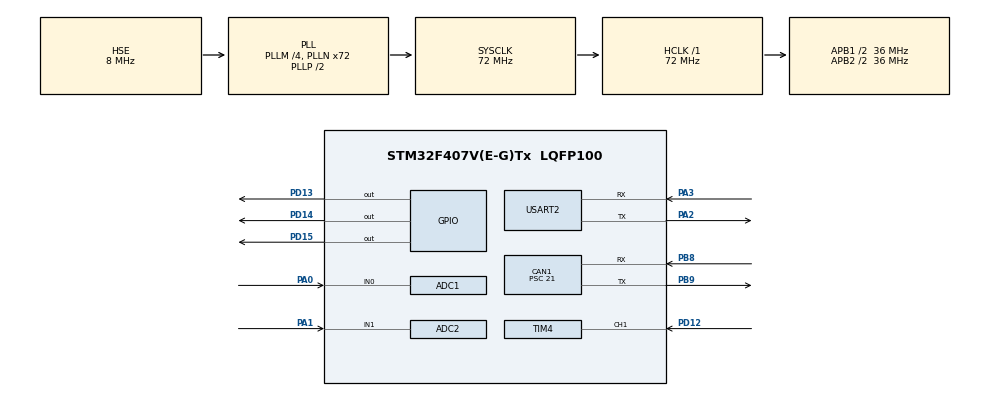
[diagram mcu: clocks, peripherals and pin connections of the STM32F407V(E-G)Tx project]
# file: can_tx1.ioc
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ADC1.Channel-0\#ChannelRegularConversion=ADC_CHANNEL_0
ADC1.ClockPrescaler=ADC_CLOCK_SYNC_PCLK_DIV4
ADC1.NbrOfConversionFlag=1
ADC1.Rank-0\#ChannelRegularConversion=1
ADC1.SamplingTime-0\#ChannelRegularConversion=ADC_SAMPLETIME_3CYCLES
ADC1.master=1
ADC2.Channel-0\#ChannelRegularConversion=ADC_CHANNEL_1
ADC2.ClockPrescaler=ADC_CLOCK_SYNC_PCLK_DIV4
ADC2.NbrOfConversionFlag=1
ADC2.Rank-0\#ChannelRegularConversion=1
ADC2.SamplingTime-0\#ChannelRegularConversion=ADC_SAMPLETIME_3CYCLES
CAN1.BS1=CAN_BS1_2TQ
CAN1.CalculateBaudRate=428571
CAN1.CalculateTimeBit=2333
CAN1.CalculateTimeQuantum=583.3333333333334
CAN1.Prescaler=21
Mcu.Family=STM32F4
Mcu.Name=STM32F407V(E-G)Tx
Mcu.Package=LQFP100
NVIC.CAN1_RX0_IRQn=true\:0\:0\:false\:false\:true\:true\:true\:true
NVIC.PriorityGroup=NVIC_PRIORITYGROUP_0
NVIC.TIM4_IRQn=true\:0\:0\:false\:false\:true\:true\:true\:true
PA0-WKUP.Signal=ADCx_IN0
PA1.Signal=ADCx_IN1
PA2.Mode=Asynchronous
PA2.Signal=USART2_TX
PA3.Mode=Asynchronous
PA3.Signal=USART2_RX
PB8.GPIO_PuPd=GPIO_NOPULL
PB8.Mode=CAN_Activate
PB8.Signal=CAN1_RX
PB9.Mode=CAN_Activate
PB9.Signal=CAN1_TX
PD12.Signal=S_TIM4_CH1
PD13.Signal=GPIO_Output
PD14.Signal=GPIO_Output
PD15.Signal=GPIO_Output
PH0-OSC_IN.Mode=HSE-External-Oscillator
PH0-OSC_IN.Signal=RCC_OSC_IN
PH1-OSC_OUT.Mode=HSE-External-Oscillator
PH1-OSC_OUT.Signal=RCC_OSC_OUT
ProjectManager.HeapSize=0x200
ProjectManager.StackSize=0x400
ProjectManager.TargetToolchain=STM32CubeIDE
RCC.48MHZClocksFreq_Value=20571428.57142857
RCC.AHBFreq_Value=72000000
RCC.APB1CLKDivider=RCC_HCLK_DIV2
RCC.APB1Freq_Value=36000000
RCC.APB1TimFreq_Value=72000000
RCC.APB2CLKDivider=RCC_HCLK_DIV2
RCC.APB2Freq_Value=36000000
RCC.APB2TimFreq_Value=72000000
RCC.CortexFreq_Value=72000000
RCC.HCLKFreq_Value=72000000
RCC.HSE_VALUE=8000000
RCC.HSI_VALUE=16000000
RCC.LSE_VALUE=32768
RCC.PLLM=4
RCC.PLLN=72
RCC.PLLQ=7
RCC.PLLSourceVirtual=RCC_PLLSOURCE_HSE
RCC.SYSCLKFreq_VALUE=72000000
RCC.SYSCLKSource=RCC_SYSCLKSOURCE_PLLCLK
RCC.VCOOutputFreq_Value=144000000
SH.ADCx_IN0.0=ADC1_IN0,IN0
SH.ADCx_IN1.0=ADC2_IN1,IN1
SH.S_TIM4_CH1.0=TIM4_CH1,Input_Capture1_from_TI1
TIM4.AutoReloadPreload=TIM_AUTORELOAD_PRELOAD_ENABLE
TIM4.Channel-Input_Capture1_from_TI1=TIM_CHANNEL_1
TIM4.Prescaler=84-1
USART2.VirtualMode=VM_ASYNC
VP_TIM4_VS_ClockSourceINT.Mode=Internal
board=STM32F407G-DISC1

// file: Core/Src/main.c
/* USER CODE BEGIN Header */
/**
  ******************************************************************************
  * @file           : main.c
  * @brief          : Main program body
  ******************************************************************************
  * @attention
  *
  * Copyright (c) 2024 STMicroelectronics.
  * All rights reserved.
  *
  * This software is licensed under terms that can be found in the LICENSE file
  * in the root directory of this software component.
  * If no LICENSE file comes with this software, it is provided AS-IS.
  *
  ******************************************************************************
  */
/* USER CODE END Header */
#include "main.h"

/* USER CODE BEGIN Includes */
#include <stdio.h>
#include <string.h>
#include<stdlib.h>
/* USER CODE END Includes */

/* USER CODE BEGIN PD */
#define ULTRASONIC_TRIGGER_PORT		GPIOD
#define ULTRASONIC_TRIGGER_PIN		GPIO_PIN_11
#define ULTRASONIC_ECHO_PIN_IC		&htim4
/* USER CODE END PD */

ADC_HandleTypeDef hadc1;
ADC_HandleTypeDef hadc2;

CAN_HandleTypeDef hcan1;

TIM_HandleTypeDef htim4;

UART_HandleTypeDef huart2;

/* USER CODE BEGIN PV */
//uint8_t temperature=0;
volatile uint16_t distance=0;
volatile uint8_t isReadingFinished=0;
volatile uint8_t isRisingCaptured=0 ;
volatile uint32_t InputCaptureValue_1=0;
volatile uint32_t InputCaptureValue_2=0;
volatile uint32_t InputCaptureDifference=0;
volatile int datacheck;
//CAN_DECLARATIONS================================

uint16_t mq;
uint16_t lm;
char str[64];
//uint16_t previousDistance = 0;  // Variable to store previous distance
//uint8_t speed = 0;// Variable to store calculated speed
//uint32_t previousTime = 0;  // Variable to store previous time in milliseconds
//uint32_t currentTime = 0;

/* USER CODE END PV */

void SystemClock_Config(void);
static void MX_GPIO_Init(void);
static void MX_CAN1_Init(void);
static void MX_ADC1_Init(void);
static void MX_ADC2_Init(void);
static void MX_TIM4_Init(void);
static void MX_USART2_UART_Init(void);

/* USER CODE BEGIN 0 */

CAN_TxHeaderTypeDef TxHeader;
CAN_RxHeaderTypeDef RxHeader;

uint8_t TxData[8];
uint8_t RxData[8];
uint8_t TxData1[8];
uint32_t TxMailbox[2];

/* USER CODE BEGIN 0 */

//================================================
//ULTRASONIC_FUNCTIONS===========================
void Ultrasonic_distance(void)
{
	//Send Trigger Signal to ultrasonic trigger pin
	HAL_GPIO_WritePin(ULTRASONIC_TRIGGER_PORT, ULTRASONIC_TRIGGER_PIN, GPIO_PIN_SET);
	HAL_Delay(10);
	HAL_GPIO_WritePin(ULTRASONIC_TRIGGER_PORT, ULTRASONIC_TRIGGER_PIN, GPIO_PIN_RESET);
	//Enable Timer counter
	__HAL_TIM_ENABLE_IT(ULTRASONIC_ECHO_PIN_IC, TIM_IT_CC1);
}

void HAL_TIM_IC_CaptureCallback(TIM_HandleTypeDef *htim)
{
	//Capture Rising Edge
	if(isRisingCaptured == 0)
	{
		InputCaptureValue_1 = HAL_TIM_ReadCapturedValue(&htim4, TIM_CHANNEL_1);
		isRisingCaptured = 1;
		__HAL_TIM_SET_CAPTUREPOLARITY(&htim4, TIM_CHANNEL_1, TIM_INPUTCHANNELPOLARITY_FALLING);
	}
	//Capture Falling Edge
	else if(isRisingCaptured == 1)
	{
		InputCaptureValue_2 = HAL_TIM_ReadCapturedValue(&htim4, TIM_CHANNEL_1);
		__HAL_TIM_SET_COUNTER(&htim4, 0);

		if(InputCaptureValue_2 > InputCaptureValue_1)
		{
			InputCaptureDifference = InputCaptureValue_2 - InputCaptureValue_1;
		}
		else if(InputCaptureValue_1 > InputCaptureValue_2)
		{
			InputCaptureDifference = (0xFFFF - InputCaptureValue_1) + InputCaptureValue_2;
		}

		distance = InputCaptureDifference * 0.0173;

		isReadingFinished = 1;

		isRisingCaptured = 0;

		__HAL_TIM_SET_CAPTUREPOLARITY(&htim4, TIM_CHANNEL_1, TIM_INPUTCHANNELPOLARITY_RISING);
		__HAL_TIM_DISABLE_IT(&htim4, TIM_IT_CC1);

	}

}
/*
void Calculate_Speed(void)
{
    // Calculate the change in distance
    int8_t distanceChange = distance - previousDistance;

    // Get the current time in milliseconds
    currentTime = HAL_GetTick();

    // Calculate the time interval (in seconds)
    uint8_t timeInterval = (currentTime - previousTime) / 1000; // Convert ms to seconds

    // Calculate speed if the time interval is greater than zero
    if (timeInterval > 0)
    {
        speed = abs(distanceChange) / timeInterval;  // Speed in cm/s
    }

    // Store the current distance and time for the next measurement
    previousDistance = distance;
    previousTime = currentTime;

}
*/

void HAL_CAN_RxFifo0MsgPendingCallback(CAN_HandleTypeDef *hcan){
	if(HAL_CAN_GetRxMessage(hcan, CAN_RX_FIFO0, &RxHeader, RxData) != HAL_OK)
		Error_Handler();

	if(RxHeader.DLC == 2)
		datacheck = 1;

}

/* USER CODE END 0 */

int main(void)
{

  /* MCU Configuration--------------------------------------------------------*/

  /* Reset of all peripherals, Initializes the Flash interface and the Systick. */
  HAL_Init();

  /* Configure the system clock */
  SystemClock_Config();

  /* Initialize all configured peripherals */
  MX_GPIO_Init();
  MX_CAN1_Init();
  MX_ADC1_Init();
  MX_ADC2_Init();
  MX_TIM4_Init();
  MX_USART2_UART_Init();
  /* USER CODE BEGIN 2 */

HAL_CAN_Start(&hcan1);

  /* USER CODE END 2 */

  /* Infinite loop */
  /* USER CODE BEGIN WHILE */
  while (1)
  {
	  //MQ3_START.............................................................

	  	 	  // ADC Single conversion mode -- Polling
	  	 	  HAL_ADC_Start(&hadc1);
	  	 	  HAL_ADC_PollForConversion(&hadc1, HAL_MAX_DELAY);
	  	 	  mq = HAL_ADC_GetValue(&hadc1);
	  	 	  HAL_ADC_Stop(&hadc1);
	  	 	  if (mq >= 900)
	  	 	  {
	  	 		  HAL_GPIO_WritePin(GPIOD, GPIO_PIN_14,GPIO_PIN_SET);
	  	 		  }
	  	 	  //MQ3_END...................................................................

	  	 	  //LM35_BEGIN...............................................................

	  	 	 	  	  HAL_ADC_Start(&hadc2);
	  	 	 	  	  HAL_ADC_PollForConversion(&hadc2, HAL_MAX_DELAY);
	  	 	 	  	  lm = HAL_ADC_GetValue(&hadc2);
	  	 	 	  	  HAL_ADC_Stop(&hadc2);

	  	 	 	  	 // uint16_t Voltage = ((lm*3.3)/4095.0) ;
	  	 	 	  	  //temperature = Voltage*100.0 ;
	  	 	 //LM35_END..................................................................

	  	 	 	  	//ULTRASONIC_START...........................
	  	 	 	  		Ultrasonic_distance();
	  	 	 	  		//Calculate_Speed();
	  	 	 	  	//ULTRASONIC_STOP...........................

	  //can_message_sending........................................
	  //SENDING===================================================
	  	 	 	  TxHeader.DLC = 2;
	  	 	 	  TxHeader.IDE = CAN_ID_STD;
	  	 	 	  TxHeader.RTR = CAN_RTR_DATA;
	  	 	 	  TxHeader.StdId = 0x446;
	  	 	 	  TxHeader.ExtId = 0x00;
	  	 	 	  TxHeader.TransmitGlobalTime = DISABLE;
	  	 	 	  TxData[0]=(uint8_t )mq&0xFF;
	  	 	 	  TxData[1]=(uint8_t)(mq>>8)&0xFF;
	  	 	 	 HAL_CAN_AddTxMessage(&hcan1, &TxHeader, TxData, &TxMailbox[0]);

	  	 	  TxHeader.DLC = 2;

	  	 	 	  	 	 	  TxHeader.IDE = CAN_ID_STD;
	  	 	 	  	 	 	  TxHeader.RTR = CAN_RTR_DATA;
	  	 	 	  	 	 	  TxHeader.StdId = 0x445;
	  	 	 	  	 	 	  TxHeader.ExtId = 0x00;
	  	 	 	  	 	 	  TxHeader.TransmitGlobalTime = DISABLE;
	  	 	 	  	       	  TxData[0]= (uint8_t ) lm & 0xFF;
	  	 	 	  	 		  TxData[1]= (uint8_t)(lm>>8) & 0xFF;
	  	 	 	  	 	 	 HAL_CAN_AddTxMessage(&hcan1, &TxHeader, TxData, &TxMailbox[0]);

	  	 	 	  	  	  	  	  TxHeader.DLC = 2;
	  	 	 		  	 	 	  TxHeader.IDE = CAN_ID_STD;
	  	 	 		  	 	 	  TxHeader.RTR = CAN_RTR_DATA;
	  	 	 		  	 	 	  TxHeader.StdId =0x44A;

	  	 	 		  	 	 	  TxHeader.ExtId = 0x00;
	  	 	 		  	 	 	  TxHeader.TransmitGlobalTime = DISABLE;

	  	 	 	            TxData[0] = (uint8_t) (distance & 0xFF);
	  	 	 				TxData[1] = (uint8_t) ((distance >> 8) & 0xFF);

	  	 	 	  HAL_CAN_AddTxMessage(&hcan1, &TxHeader, TxData, &TxMailbox[1]);
	  	 	 	//SENT======================================================

	  	 	 	                     HAL_Delay(500);
	  	 	 		 	  			  if(datacheck){
	  	 	 		 	  				  for(int i = 0; i<RxData[1]; i++){
	  	 	 		 	  					  HAL_GPIO_TogglePin(GPIOD, GPIO_PIN_15);
	  	 	 		 	  					  HAL_Delay(RxData[0]);
	  	 	 		 	  			  	  }
	  	 	 		 	  				  datacheck = 0;
	  	 	 		 	  			  }

	  	 	 		 sprintf(str,"mq3=%d\r\nlm=%d\r\ndistance=%d\r\n", mq,lm,distance);
	  	 	 		HAL_UART_Transmit(&huart2,(uint8_t*)str, sizeof(str), HAL_MAX_DELAY);
	  	 	 		HAL_Delay(500);

    /* USER CODE END WHILE */

  }
}

void SystemClock_Config(void)
{
  RCC_OscInitTypeDef RCC_OscInitStruct = {0};
  RCC_ClkInitTypeDef RCC_ClkInitStruct = {0};

  /** Configure the main internal regulator output voltage
  */
  __HAL_RCC_PWR_CLK_ENABLE();
  __HAL_PWR_VOLTAGESCALING_CONFIG(PWR_REGULATOR_VOLTAGE_SCALE1);

  /** Initializes the RCC Oscillators according to the specified parameters
  * in the RCC_OscInitTypeDef structure.
  */
  RCC_OscInitStruct.OscillatorType = RCC_OSCILLATORTYPE_HSE;
  RCC_OscInitStruct.HSEState = RCC_HSE_ON;
  RCC_OscInitStruct.PLL.PLLState = RCC_PLL_ON;
  RCC_OscInitStruct.PLL.PLLSource = RCC_PLLSOURCE_HSE;
  RCC_OscInitStruct.PLL.PLLM = 4;
  RCC_OscInitStruct.PLL.PLLN = 72;
  RCC_OscInitStruct.PLL.PLLP = RCC_PLLP_DIV2;
  RCC_OscInitStruct.PLL.PLLQ = 7;
  if (HAL_RCC_OscConfig(&RCC_OscInitStruct) != HAL_OK)
  {
    Error_Handler();
  }

  /** Initializes the CPU, AHB and APB buses clocks
  */
  RCC_ClkInitStruct.ClockType = RCC_CLOCKTYPE_HCLK|RCC_CLOCKTYPE_SYSCLK
                              |RCC_CLOCKTYPE_PCLK1|RCC_CLOCKTYPE_PCLK2;
  RCC_ClkInitStruct.SYSCLKSource = RCC_SYSCLKSOURCE_PLLCLK;
  RCC_ClkInitStruct.AHBCLKDivider = RCC_SYSCLK_DIV1;
  RCC_ClkInitStruct.APB1CLKDivider = RCC_HCLK_DIV2;
  RCC_ClkInitStruct.APB2CLKDivider = RCC_HCLK_DIV2;

  if (HAL_RCC_ClockConfig(&RCC_ClkInitStruct, FLASH_LATENCY_2) != HAL_OK)
  {
    Error_Handler();
  }
}

static void MX_ADC1_Init(void)
{

  ADC_ChannelConfTypeDef sConfig = {0};

  /** Configure the global features of the ADC (Clock, Resolution, Data Alignment and number of conversion)
  */
  hadc1.Instance = ADC1;
  hadc1.Init.ClockPrescaler = ADC_CLOCK_SYNC_PCLK_DIV4;
  hadc1.Init.Resolution = ADC_RESOLUTION_12B;
  hadc1.Init.ScanConvMode = DISABLE;
  hadc1.Init.ContinuousConvMode = DISABLE;
  hadc1.Init.DiscontinuousConvMode = DISABLE;
  hadc1.Init.ExternalTrigConvEdge = ADC_EXTERNALTRIGCONVEDGE_NONE;
  hadc1.Init.ExternalTrigConv = ADC_SOFTWARE_START;
  hadc1.Init.DataAlign = ADC_DATAALIGN_RIGHT;
  hadc1.Init.NbrOfConversion = 1;
  hadc1.Init.DMAContinuousRequests = DISABLE;
  hadc1.Init.EOCSelection = ADC_EOC_SINGLE_CONV;
  if (HAL_ADC_Init(&hadc1) != HAL_OK)
  {
    Error_Handler();
  }

  /** Configure for the selected ADC regular channel its corresponding rank in the sequencer and its sample time.
  */
  sConfig.Channel = ADC_CHANNEL_0;
  sConfig.Rank = 1;
  sConfig.SamplingTime = ADC_SAMPLETIME_3CYCLES;
  if (HAL_ADC_ConfigChannel(&hadc1, &sConfig) != HAL_OK)
  {
    Error_Handler();
  }

}

static void MX_ADC2_Init(void)
{

  ADC_ChannelConfTypeDef sConfig = {0};

  /** Configure the global features of the ADC (Clock, Resolution, Data Alignment and number of conversion)
  */
  hadc2.Instance = ADC2;
  hadc2.Init.ClockPrescaler = ADC_CLOCK_SYNC_PCLK_DIV4;
  hadc2.Init.Resolution = ADC_RESOLUTION_12B;
  hadc2.Init.ScanConvMode = DISABLE;
  hadc2.Init.ContinuousConvMode = DISABLE;
  hadc2.Init.DiscontinuousConvMode = DISABLE;
  hadc2.Init.ExternalTrigConvEdge = ADC_EXTERNALTRIGCONVEDGE_NONE;
  hadc2.Init.ExternalTrigConv = ADC_SOFTWARE_START;
  hadc2.Init.DataAlign = ADC_DATAALIGN_RIGHT;
  hadc2.Init.NbrOfConversion = 1;
  hadc2.Init.DMAContinuousRequests = DISABLE;
  hadc2.Init.EOCSelection = ADC_EOC_SINGLE_CONV;
  if (HAL_ADC_Init(&hadc2) != HAL_OK)
  {
    Error_Handler();
  }

  /** Configure for the selected ADC regular channel its corresponding rank in the sequencer and its sample time.
  */
  sConfig.Channel = ADC_CHANNEL_1;
  sConfig.Rank = 1;
  sConfig.SamplingTime = ADC_SAMPLETIME_3CYCLES;
  if (HAL_ADC_ConfigChannel(&hadc2, &sConfig) != HAL_OK)
  {
    Error_Handler();
  }

}

static void MX_CAN1_Init(void)
{

  hcan1.Instance = CAN1;
  hcan1.Init.Prescaler = 21;
  hcan1.Init.Mode = CAN_MODE_NORMAL;
  hcan1.Init.SyncJumpWidth = CAN_SJW_1TQ;
  hcan1.Init.TimeSeg1 = CAN_BS1_2TQ;
  hcan1.Init.TimeSeg2 = CAN_BS2_1TQ;
  hcan1.Init.TimeTriggeredMode = DISABLE;
  hcan1.Init.AutoBusOff = DISABLE;
  hcan1.Init.AutoWakeUp = DISABLE;
  hcan1.Init.AutoRetransmission = DISABLE;
  hcan1.Init.ReceiveFifoLocked = DISABLE;
  hcan1.Init.TransmitFifoPriority = DISABLE;
  if (HAL_CAN_Init(&hcan1) != HAL_OK)
  {
    Error_Handler();
  }
  /* USER CODE BEGIN CAN1_Init 2 */

  CAN_FilterTypeDef canfilterconfig;

  canfilterconfig.FilterActivation = CAN_FILTER_ENABLE;
  canfilterconfig.FilterBank = 2;
  canfilterconfig.FilterFIFOAssignment = CAN_FILTER_FIFO0;
  canfilterconfig.FilterIdHigh = 0x103<<5;
  canfilterconfig.FilterIdLow = 0;
  canfilterconfig.FilterMode = CAN_FILTERMODE_IDMASK;
  canfilterconfig.FilterMaskIdHigh = 0x103<<5;
  canfilterconfig.FilterMaskIdLow = 0x0000;
  canfilterconfig.FilterScale = CAN_FILTERSCALE_32BIT;
  canfilterconfig.SlaveStartFilterBank = 14;

  HAL_CAN_ConfigFilter(&hcan1, &canfilterconfig);

  /* USER CODE END CAN1_Init 2 */

}

static void MX_TIM4_Init(void)
{

  TIM_ClockConfigTypeDef sClockSourceConfig = {0};
  TIM_MasterConfigTypeDef sMasterConfig = {0};
  TIM_IC_InitTypeDef sConfigIC = {0};

  htim4.Instance = TIM4;
  htim4.Init.Prescaler = 84-1;
  htim4.Init.CounterMode = TIM_COUNTERMODE_UP;
  htim4.Init.Period = 65535;
  htim4.Init.ClockDivision = TIM_CLOCKDIVISION_DIV1;
  htim4.Init.AutoReloadPreload = TIM_AUTORELOAD_PRELOAD_ENABLE;
  if (HAL_TIM_Base_Init(&htim4) != HAL_OK)
  {
    Error_Handler();
  }
  sClockSourceConfig.ClockSource = TIM_CLOCKSOURCE_INTERNAL;
  if (HAL_TIM_ConfigClockSource(&htim4, &sClockSourceConfig) != HAL_OK)
  {
    Error_Handler();
  }
  if (HAL_TIM_IC_Init(&htim4) != HAL_OK)
  {
    Error_Handler();
  }
  sMasterConfig.MasterOutputTrigger = TIM_TRGO_RESET;
  sMasterConfig.MasterSlaveMode = TIM_MASTERSLAVEMODE_DISABLE;
  if (HAL_TIMEx_MasterConfigSynchronization(&htim4, &sMasterConfig) != HAL_OK)
  {
    Error_Handler();
  }
  sConfigIC.ICPolarity = TIM_INPUTCHANNELPOLARITY_RISING;
  sConfigIC.ICSelection = TIM_ICSELECTION_DIRECTTI;
  sConfigIC.ICPrescaler = TIM_ICPSC_DIV1;
  sConfigIC.ICFilter = 0;
  if (HAL_TIM_IC_ConfigChannel(&htim4, &sConfigIC, TIM_CHANNEL_1) != HAL_OK)
  {
    Error_Handler();
  }

}

static void MX_USART2_UART_Init(void)
{

  huart2.Instance = USART2;
  huart2.Init.BaudRate = 115200;
  huart2.Init.WordLength = UART_WORDLENGTH_8B;
  huart2.Init.StopBits = UART_STOPBITS_1;
  huart2.Init.Parity = UART_PARITY_NONE;
  huart2.Init.Mode = UART_MODE_TX_RX;
  huart2.Init.HwFlowCtl = UART_HWCONTROL_NONE;
  huart2.Init.OverSampling = UART_OVERSAMPLING_16;
  if (HAL_UART_Init(&huart2) != HAL_OK)
  {
    Error_Handler();
  }

}

static void MX_GPIO_Init(void)
{
  GPIO_InitTypeDef GPIO_InitStruct = {0};

  /* GPIO Ports Clock Enable */
  __HAL_RCC_GPIOH_CLK_ENABLE();
  __HAL_RCC_GPIOA_CLK_ENABLE();
  __HAL_RCC_GPIOD_CLK_ENABLE();
  __HAL_RCC_GPIOB_CLK_ENABLE();

  /*Configure GPIO pin Output Level */
  HAL_GPIO_WritePin(GPIOD, GPIO_PIN_13|GPIO_PIN_14|GPIO_PIN_15, GPIO_PIN_RESET);

  /*Configure GPIO pins : PD13 PD14 PD15 */
  GPIO_InitStruct.Pin = GPIO_PIN_13|GPIO_PIN_14|GPIO_PIN_15;
  GPIO_InitStruct.Mode = GPIO_MODE_OUTPUT_PP;
  GPIO_InitStruct.Pull = GPIO_NOPULL;
  GPIO_InitStruct.Speed = GPIO_SPEED_FREQ_LOW;
  HAL_GPIO_Init(GPIOD, &GPIO_InitStruct);

}

void Error_Handler(void)
{
  __disable_irq();
  while (1)
  {
  }
}
